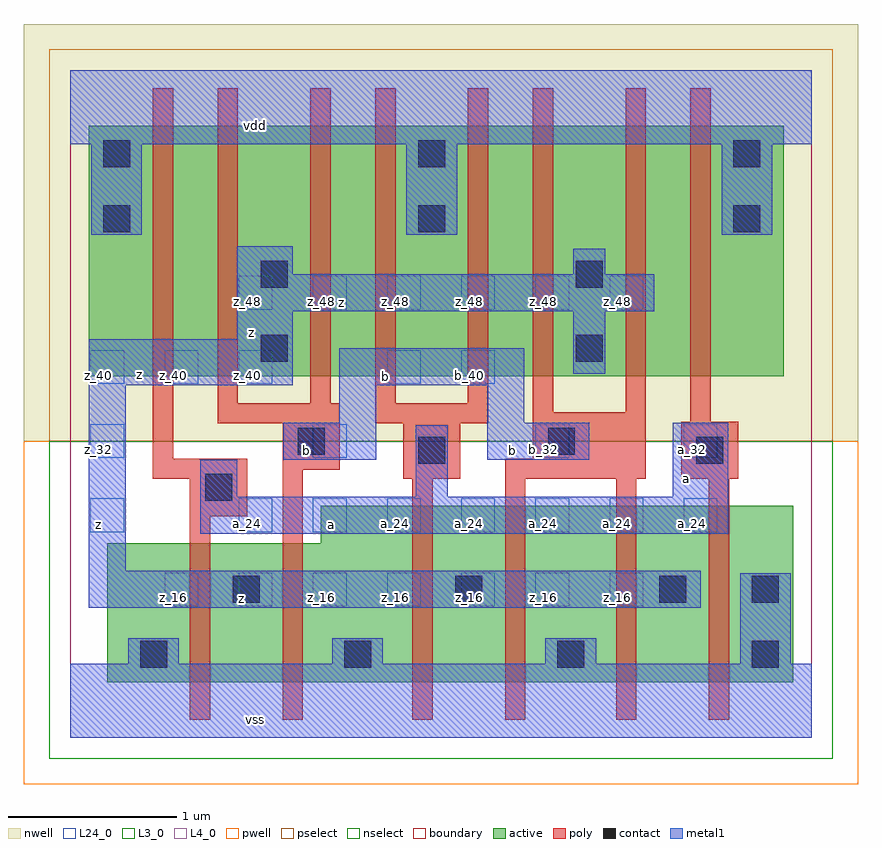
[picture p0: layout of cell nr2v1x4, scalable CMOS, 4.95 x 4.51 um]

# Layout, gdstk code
import gdstk
lib = gdstk.Library(unit=1e-6, precision=2.5e-09)
def R(c, l, rs):  # rectangles x0, y0, x1, y1
    for r in rs: c.add(gdstk.rectangle(r[:2], r[2:], *l))
def A(c, l, x, y, w, h, nx, ny, dx, dy):  # array of equal rectangles
    R(c, l, [(x+i*dx, y+j*dy, x+i*dx+w, y+j*dy+h) for i in range(nx) for j in range(ny)])
L3_0 = (3, 0)
L4_0 = (4, 0)
L24_0 = (24, 0)
contact = (25, 0)
pwell = (41, 0)
nwell = (42, 0)
active = (43, 0)
pselect = (44, 0)
nselect = (45, 0)
poly = (46, 0)
metal1 = (49, 0)
boundary = (63, 0)

nr2v1x4 = lib.new_cell('nr2v1x4')
R(nr2v1x4, L3_0, [(0.22,0.33,4.29,1.155), (1.485,1.155,4.29,1.375)])
R(nr2v1x4, L4_0, [(0.11,2.145,4.235,3.63)])
A(nr2v1x4, L24_0, 0.56, 0.78, 0.2, 0.2, 7, 1, 0.44, 0)
A(nr2v1x4, L24_0, 1, 1.22, 0.2, 0.2, 7, 1, 0.44, 0)
A(nr2v1x4, L24_0, 0.12, 1.66, 0.2, 0.2, 3, 1, 1.32, 0)
A(nr2v1x4, L24_0, 0.12, 2.1, 0.2, 0.2, 3, 1, 0.44, 0)
A(nr2v1x4, L24_0, 1, 2.54, 0.2, 0.2, 6, 1, 0.44, 0)
R(nr2v1x4, L24_0, [(0.12,1.22,0.32,1.42), (3.64,1.66,3.84,1.86), (1.88,2.1,2.08,2.3), (2.32,2.1,2.52,2.3)])
A(nr2v1x4, contact, 0.195, 3, 0.16, 0.16, 3, 2, 1.87, 0.385)
R(nr2v1x4, contact, [(0.415,0.415,0.575,0.575), (1.625,0.415,1.785,0.575), (2.89,0.415,3.05,0.575), (4.045,0.415,4.205,0.575), (0.965,0.8,1.125,0.96), (2.285,0.8,2.445,0.96), (3.495,0.8,3.655,0.96), (4.045,0.8,4.205,0.96), (0.8,1.405,0.96,1.565), (2.065,1.625,2.225,1.785), (3.715,1.625,3.875,1.785), (1.35,1.68,1.51,1.84), (2.835,1.68,2.995,1.84), (1.13,2.23,1.29,2.39), (3,2.23,3.16,2.39), (1.13,2.67,1.29,2.83), (3,2.67,3.16,2.83)])
R(nr2v1x4, pwell, [(-0.275,-0.275,4.675,1.76)])
R(nr2v1x4, nwell, [(-0.275,1.76,4.675,4.235)])
R(nr2v1x4, active, [(0.22,0.33,4.29,1.155), (1.485,1.155,4.29,1.375), (0.11,2.145,4.235,3.63)])
R(nr2v1x4, pselect, [(-0.125,1.76,4.525,4.085)])
R(nr2v1x4, nselect, [(-0.125,-0.125,4.525,1.76)])
R(nr2v1x4, poly, [(0.71,0.105,0.83,1.315), (1.26,0.105,1.38,1.59), (2.03,0.105,2.15,1.535), (2.58,0.105,2.7,1.535), (3.24,0.105,3.36,1.535), (3.79,0.105,3.91,1.535), (0.71,1.315,1.05,1.535), (0.49,1.535,1.05,1.655), (1.975,1.535,2.315,1.865), (2.58,1.535,3.415,1.655), (3.625,1.535,3.965,1.875), (1.26,1.59,1.6,1.865), (0.49,1.655,0.61,3.855), (2.745,1.655,3.415,1.93), (0.875,1.865,1.6,1.985), (1.81,1.865,2.48,1.985), (3.68,1.875,3.8,3.855), (2.745,1.93,2.865,3.855), (3.295,1.93,3.415,3.855), (0.875,1.985,0.995,3.855), (1.425,1.985,1.545,3.855), (1.81,1.985,1.93,3.855), (2.36,1.985,2.48,3.855)])
A(nr2v1x4, metal1, 0.125, 2.985, 0.3, 0.535, 3, 1, 1.87, 0)
R(nr2v1x4, metal1, [(0,0,4.4,0.44), (0.345,0.44,0.645,0.59), (1.555,0.44,1.855,0.59), (2.82,0.44,3.12,0.59), (3.975,0.44,4.275,0.975), (0.11,0.77,3.74,0.99), (0.11,0.99,0.33,2.09), (0.77,1.21,3.905,1.43), (0.77,1.43,0.99,1.65), (2.05,1.43,2.24,1.855), (3.575,1.43,3.905,1.87), (1.265,1.65,1.815,1.87), (2.475,1.65,3.08,1.87), (1.595,1.87,1.815,2.09), (2.475,1.87,2.695,2.09), (0.11,2.09,1.32,2.365), (1.595,2.09,2.695,2.31), (2.985,2.16,3.175,2.53), (0.99,2.365,1.32,2.53), (0.99,2.53,3.465,2.75), (0.99,2.75,1.32,2.915), (2.985,2.75,3.175,2.9), (0,3.52,4.4,3.96)])
R(nr2v1x4, boundary, [(0,0,4.4,3.96)])
nr2v1x4.add(gdstk.Label('vss', (1.1,0.11), layer=49, texttype=0))
nr2v1x4.add(gdstk.Label('z', (1.0175,0.825), layer=49, texttype=0))
nr2v1x4.add(gdstk.Label('a', (1.5525,1.265), layer=49, texttype=0))
nr2v1x4.add(gdstk.Label('a', (3.6575,1.54), layer=49, texttype=0))
nr2v1x4.add(gdstk.Label('b', (2.625,1.705), layer=49, texttype=0))
nr2v1x4.add(gdstk.Label('b', (1.4025,1.705), layer=49, texttype=0))
nr2v1x4.add(gdstk.Label('z', (0.165,1.265), layer=49, texttype=0))
nr2v1x4.add(gdstk.Label('b', (1.87,2.145), layer=49, texttype=0))
nr2v1x4.add(gdstk.Label('z', (0.4125,2.1575), layer=49, texttype=0))
nr2v1x4.add(gdstk.Label('z', (1.0725,2.405), layer=49, texttype=0))
nr2v1x4.add(gdstk.Label('z', (1.6075,2.585), layer=49, texttype=0))
nr2v1x4.add(gdstk.Label('vdd', (1.1,3.63), layer=49, texttype=0))
nr2v1x4.add(gdstk.Label('z_16', (0.61,0.83), layer=24, texttype=0))
nr2v1x4.add(gdstk.Label('z_40', (0.61,2.15), layer=24, texttype=0))
nr2v1x4.add(gdstk.Label('z_16', (1.05,0.83), layer=24, texttype=0))
nr2v1x4.add(gdstk.Label('a_24', (1.05,1.27), layer=24, texttype=0))
nr2v1x4.add(gdstk.Label('z_40', (1.05,2.15), layer=24, texttype=0))
nr2v1x4.add(gdstk.Label('z_48', (1.05,2.59), layer=24, texttype=0))
nr2v1x4.add(gdstk.Label('z_16', (1.49,0.83), layer=24, texttype=0))
nr2v1x4.add(gdstk.Label('a_24', (1.49,1.27), layer=24, texttype=0))
nr2v1x4.add(gdstk.Label('b_32', (1.49,1.71), layer=24, texttype=0))
nr2v1x4.add(gdstk.Label('z_48', (1.49,2.59), layer=24, texttype=0))
nr2v1x4.add(gdstk.Label('z_16', (1.93,0.83), layer=24, texttype=0))
nr2v1x4.add(gdstk.Label('a_24', (1.93,1.27), layer=24, texttype=0))
nr2v1x4.add(gdstk.Label('b_40', (1.93,2.15), layer=24, texttype=0))
nr2v1x4.add(gdstk.Label('z_48', (1.93,2.59), layer=24, texttype=0))
nr2v1x4.add(gdstk.Label('z_24', (0.17,1.27), layer=24, texttype=0))
nr2v1x4.add(gdstk.Label('z_32', (0.17,1.71), layer=24, texttype=0))
nr2v1x4.add(gdstk.Label('z_40', (0.17,2.15), layer=24, texttype=0))
nr2v1x4.add(gdstk.Label('z_16', (2.37,0.83), layer=24, texttype=0))
nr2v1x4.add(gdstk.Label('a_24', (2.37,1.27), layer=24, texttype=0))
nr2v1x4.add(gdstk.Label('b_40', (2.37,2.15), layer=24, texttype=0))
nr2v1x4.add(gdstk.Label('z_48', (2.37,2.59), layer=24, texttype=0))
nr2v1x4.add(gdstk.Label('z_16', (2.81,0.83), layer=24, texttype=0))
nr2v1x4.add(gdstk.Label('a_24', (2.81,1.27), layer=24, texttype=0))
nr2v1x4.add(gdstk.Label('b_32', (2.81,1.71), layer=24, texttype=0))
nr2v1x4.add(gdstk.Label('z_48', (2.81,2.59), layer=24, texttype=0))
nr2v1x4.add(gdstk.Label('z_16', (3.25,0.83), layer=24, texttype=0))
nr2v1x4.add(gdstk.Label('a_24', (3.25,1.27), layer=24, texttype=0))
nr2v1x4.add(gdstk.Label('z_48', (3.25,2.59), layer=24, texttype=0))
nr2v1x4.add(gdstk.Label('a_24', (3.69,1.27), layer=24, texttype=0))
nr2v1x4.add(gdstk.Label('a_32', (3.69,1.71), layer=24, texttype=0))

lib.write_gds('nr2v1x4.gds')
